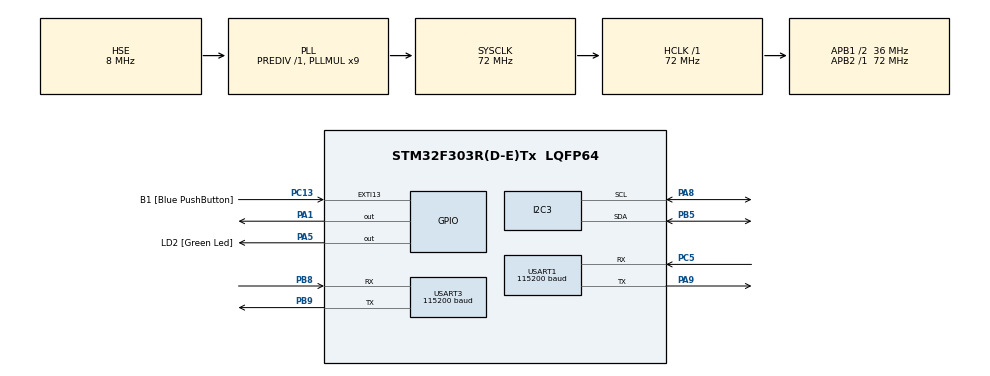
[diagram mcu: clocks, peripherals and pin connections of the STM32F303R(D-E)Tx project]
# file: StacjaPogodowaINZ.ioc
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I2C3.Timing=0x00201D2B
Mcu.Family=STM32F3
Mcu.Name=STM32F303R(D-E)Tx
Mcu.Package=LQFP64
NVIC.PriorityGroup=NVIC_PRIORITYGROUP_0
PA1.Signal=GPIO_Output
PA13.GPIO_Label=TMS
PA13.Mode=Serial_Wire
PA13.Signal=SYS_JTMS-SWDIO
PA14.GPIO_Label=TCK
PA14.Mode=Serial_Wire
PA14.Signal=SYS_JTCK-SWCLK
PA5.GPIO_Label=LD2 [Green Led]
PA5.GPIO_Mode=GPIO_MODE_OUTPUT_PP
PA5.GPIO_PuPd=GPIO_NOPULL
PA5.GPIO_Speed=GPIO_SPEED_FREQ_LOW
PA5.Signal=GPIO_Output
PA8.Mode=I2C
PA8.Signal=I2C3_SCL
PA9.Mode=Asynchronous
PA9.Signal=USART1_TX
PB3.GPIO_Label=SWO
PB3.Signal=SYS_JTDO-TRACESWO
PB5.Mode=I2C
PB5.Signal=I2C3_SDA
PB8.Mode=Asynchronous
PB8.Signal=USART3_RX
PB9.Mode=Asynchronous
PB9.Signal=USART3_TX
PC13.GPIO_Label=B1 [Blue PushButton]
PC13.GPIO_ModeDefaultEXTI=GPIO_MODE_IT_FALLING
PC13.Signal=GPXTI13
PC14-OSC32_IN.Mode=LSE-External-Oscillator
PC14-OSC32_IN.Signal=RCC_OSC32_IN
PC15-OSC32_OUT.Mode=LSE-External-Oscillator
PC15-OSC32_OUT.Signal=RCC_OSC32_OUT
PC5.Mode=Asynchronous
PC5.Signal=USART1_RX
PF0-OSC_IN.Mode=HSE-External-Clock-Source
PF0-OSC_IN.Signal=RCC_OSC_IN
PF1-OSC_OUT.Signal=RCC_OSC_OUT
ProjectManager.HeapSize=0x200
ProjectManager.StackSize=0x400
ProjectManager.TargetToolchain=STM32CubeIDE
RCC.AHBFreq_Value=72000000
RCC.APB1CLKDivider=RCC_HCLK_DIV2
RCC.APB1Freq_Value=36000000
RCC.APB1TimFreq_Value=72000000
RCC.APB2Freq_Value=72000000
RCC.APB2TimFreq_Value=72000000
RCC.CortexFreq_Value=72000000
RCC.HCLKFreq_Value=72000000
RCC.HSE_VALUE=8000000
RCC.HSI_VALUE=8000000
RCC.PLLM=8
RCC.PLLMUL=RCC_PLL_MUL9
RCC.PLLN=336
RCC.PLLP=RCC_PLLP_DIV4
RCC.PLLQ=7
RCC.PLLSourceVirtual=RCC_PLLSOURCE_HSE
RCC.RCC_PLLsource_Clock_Source_FROM_HSE=RCC_HSE_PREDIV_DIV2
RCC.SYSCLKFreq_VALUE=72000000
RCC.SYSCLKSourceVirtual=RCC_SYSCLKSOURCE_PLLCLK
RCC.USBFreq_Value=72000000
TIM6.Prescaler=72-1
USART1.BaudRate=115200
USART1.VirtualMode-Asynchronous=VM_ASYNC
USART3.BaudRate=115200
USART3.VirtualMode-Asynchronous=VM_ASYNC
VP_TIM6_VS_ClockSourceINT.Mode=Enable_Timer
board=NUCLEO-F303RE

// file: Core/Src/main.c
/* USER CODE BEGIN Header */
/**
  ******************************************************************************
  * @file           : main.c
  * @brief          : Main program body
  ******************************************************************************
  * @attention
  *
  * Copyright (c) 2025 STMicroelectronics.
  * All rights reserved.
  *
  * This software is licensed under terms that can be found in the LICENSE file
  * in the root directory of this software component.
  * If no LICENSE file comes with this software, it is provided AS-IS.
  *
  ******************************************************************************
  */
/* USER CODE END Header */
#include "main.h"

/* USER CODE BEGIN Includes */
#include "stdio.h"
#include "DHT11lib.h"
#include "ssd1306.h"
#include "ssd1306_fonts.h"
#include "ESP8266_STM32.h"
/* USER CODE END Includes */

I2C_HandleTypeDef hi2c3;

TIM_HandleTypeDef htim6;

UART_HandleTypeDef huart1;
UART_HandleTypeDef huart3;

/* USER CODE BEGIN PV */
uint8_t Rh_byte1=0,Rh_byte2=0,Temp_byte1=0,Temp_byte2=0,SUM=0;
uint16_t RH,TEMP;
uint8_t DATA[5]={0};
float temperatura=0,wilgotnosc=0;
char Autor[]="Aleks Kusztelak";
char ip_buf[16];
int first_on = 1;
char tempStr[16];
/* USER CODE END PV */

void SystemClock_Config(void);
static void MX_GPIO_Init(void);
static void MX_TIM6_Init(void);
static void MX_I2C3_Init(void);
static void MX_USART3_UART_Init(void);
static void MX_USART1_UART_Init(void);
/* USER CODE BEGIN PFP */
void delay_us(uint16_t us)
{

    __HAL_TIM_SET_COUNTER(&htim6,0);
    while ((uint16_t)(__HAL_TIM_GET_COUNTER(&htim6) < us));

}

void DHT11_Init(void)
{
	DHT11_SetPinOutput (DHT11_PORT, DHT11_PIN);  //output
	HAL_GPIO_WritePin (DHT11_PORT, DHT11_PIN, GPIO_PIN_RESET);   //pin na low
	delay_us (20000);   // czekam 20ms
	HAL_GPIO_WritePin (DHT11_PORT, DHT11_PIN, GPIO_PIN_SET);
	delay_us(30);
	DHT11_SetPinInput(DHT11_PORT, DHT11_PIN);    //pin na input
}

void DHT11_Resp(void){
	uint8_t test = 0;
	delay_us(40);
	if (!(HAL_GPIO_ReadPin(DHT11_PORT,DHT11_PIN)))
	{
		delay_us(80);
		if ((HAL_GPIO_ReadPin(DHT11_PORT,DHT11_PIN))) {
			test =1;
		}
		else {
			test = -1;
		}

	}
}

/*uint8_t DHT11_ReadData(void){
	uint8_t i=0;
	for (uint8_t j=0;j<8;j++)
	{
		while (!(HAL_GPIO_ReadPin (DHT11_PORT, DHT11_PIN)));   // wait for the pin to go high
		delay_us(40);   // wait for 40 us
		if (!(HAL_GPIO_ReadPin (DHT11_PORT, DHT11_PIN)))   // if the pin is low
		{
			i&= ~(1<<(7-j));   // write 0
		}
		else i|= (1<<(7-j));  // if the pin is high, write 1
		while ((HAL_GPIO_ReadPin (DHT11_PORT, DHT11_PIN)));  // wait for the pin to go low
	}
	return i;
}
*/
void DHT11_ReadData(uint8_t *dane){ //Zczytujemy dane do tablicy ktora przekazujemy do tej funkcji
	for(uint8_t i=0;i<5;i++){
		for (uint8_t j=0;j<8;j++)
		{
			while (!(HAL_GPIO_ReadPin (DHT11_PORT, DHT11_PIN)));   // czekamy az pin high
			delay_us(40);   // czekamy 40 us
			if (!(HAL_GPIO_ReadPin (DHT11_PORT, DHT11_PIN)))   // jesli pin low
			{
				dane[i]&= ~(1<<(7-j));   // 0
			}
			else dane[i]|= (1<<(7-j));  // jesli pin high, 1
			while ((HAL_GPIO_ReadPin (DHT11_PORT, DHT11_PIN)));  // czekamy az pin low
		}
	}
}

void Oled_Temp(float temperatura){
	char string[20] ={0};
	sprintf(string,"Temp: %.2f",temperatura);
	ssd1306_SetCursor(5,5);
	ssd1306_WriteString(string,Font_7x10,White);
	ssd1306_UpdateScreen();
}

void Oled_Wilg(float wilgotnosc){
	char string[20] ={0};
	sprintf(string,"RH: %.2f",wilgotnosc);
	ssd1306_SetCursor(5,20);
	ssd1306_WriteString(string,Font_7x10,White);
	ssd1306_UpdateScreen();
}

int _write(int file, char *ptr, int len) {
	HAL_UART_Transmit(&huart1, (uint8_t *)ptr, len, 100);
	return len;
}
/* USER CODE END PFP */

int main(void)
{

  /* MCU Configuration--------------------------------------------------------*/

  /* Reset of all peripherals, Initializes the Flash interface and the Systick. */
  HAL_Init();

  /* Configure the system clock */
  SystemClock_Config();

  /* Initialize all configured peripherals */
  MX_GPIO_Init();
  MX_TIM6_Init();
  MX_I2C3_Init();
  MX_USART3_UART_Init();
  MX_USART1_UART_Init();
  /* USER CODE BEGIN 2 */
  if (ESP_Init() != ESP8266_OK){
	  USER_LOG("Failed to initialize... Check Debug logs");
	  Error_Handler();
  }

  if (ESP_ConnectWiFi("XYZ", "XYZ", ip_buf, sizeof(ip_buf)) != ESP8266_OK){
	  USER_LOG("Failed to connect to wifi... Check Debug logs");
	  Error_Handler();
  }

  if (ESP_MQTT_Connect("broker.hivemq.com", 1883, "STM32Client", NULL, NULL, 60) != ESP8266_OK){
	  Error_Handler();
  }
  HAL_Delay(30000);
  HAL_TIM_Base_Start(&htim6);
  /* USER CODE END 2 */

  /* Infinite loop */
  /* USER CODE BEGIN WHILE */
  while (1)
  {
	  ssd1306_Init();
	  ssd1306_SetCursor(5,35);
	  ssd1306_WriteString(Autor,Font_7x10,White);
	  ssd1306_UpdateScreen();
	  DHT11_Init();
	  DHT11_Resp();
	 /* Rh_byte1=DHT11_ReadData();
	  Rh_byte2=DHT11_ReadData();
	  Temp_byte1=DHT11_ReadData();
	  Temp_byte2=DHT11_ReadData();
	  SUM=DHT11_ReadData();
*/

	  DHT11_ReadData(DATA);
	  uint8_t suma = 0;

	  suma = DATA[0] + DATA[1] +DATA[2] +DATA[3];
	 // temperatura = (float) Temp_byte1;
	 // wilgotnosc = (float) Rh_byte1;
	  wilgotnosc = (float) DATA[0];
	  temperatura = (float) DATA[2];
	  HAL_Delay(3000); //Delay zeby czujnik nie zwariowal
	 /* if(suma==DATA[4]){ //poprawne CHECKSUM
		  if(first_on) {
			  if (ESP_Init() != ESP8266_OK){
				  USER_LOG("Failed to initialize... Check Debug logs");
				  Error_Handler();
			  }

			  if (ESP_ConnectWiFi("XYZ", "XYZ", ip_buf, sizeof(ip_buf)) != ESP8266_OK){
				  USER_LOG("Failed to connect to wifi... Check Debug logs");
				  Error_Handler();
			  }

			  if (ESP_MQTT_Connect("Broker", 1883, "STM32Client", NULL, NULL, 60) != ESP8266_OK){
				  Error_Handler();
			  }
			  first_on=0;
			  HAL_Delay(30000);
		  } */

	  ssd1306_Init();
	  Oled_Temp(temperatura); //odczyt temperatury
	  Oled_Wilg(wilgotnosc); //odczyt wilgotnosci
	  ssd1306_SetCursor(5,35);
	  ssd1306_WriteString(Autor,Font_7x10,White);
	  ssd1306_UpdateScreen();
	  HAL_Delay(3000); //delay zeby czujnik nie zwariowal
	 // static char bufmg[32];
	 // snprintf(bufmg, sizeof(bufmg), "T=%d°C  H=%d%%", DATA[2], DATA[0]);
	  snprintf(tempStr, sizeof(tempStr), "T:%d H:%d", DATA[2],DATA[0]);
	 // const char *tekst = bufmg;
	  if (ESP_CheckTCPConnection() == ESP8266_OK){
		  ESP_MQTT_Publish("Pomiar/wynik", tempStr, 0);
	  }
	 // }

	  HAL_Delay(3000);

    /* USER CODE END WHILE */

  }
}

void SystemClock_Config(void)
{
  RCC_OscInitTypeDef RCC_OscInitStruct = {0};
  RCC_ClkInitTypeDef RCC_ClkInitStruct = {0};
  RCC_PeriphCLKInitTypeDef PeriphClkInit = {0};

  /** Initializes the RCC Oscillators according to the specified parameters
  * in the RCC_OscInitTypeDef structure.
  */
  RCC_OscInitStruct.OscillatorType = RCC_OSCILLATORTYPE_HSI|RCC_OSCILLATORTYPE_HSE;
  RCC_OscInitStruct.HSEState = RCC_HSE_BYPASS;
  RCC_OscInitStruct.HSIState = RCC_HSI_ON;
  RCC_OscInitStruct.HSICalibrationValue = RCC_HSICALIBRATION_DEFAULT;
  RCC_OscInitStruct.PLL.PLLState = RCC_PLL_ON;
  RCC_OscInitStruct.PLL.PLLSource = RCC_PLLSOURCE_HSE;
  RCC_OscInitStruct.PLL.PLLMUL = RCC_PLL_MUL9;
  RCC_OscInitStruct.PLL.PREDIV = RCC_PREDIV_DIV1;
  if (HAL_RCC_OscConfig(&RCC_OscInitStruct) != HAL_OK)
  {
    Error_Handler();
  }

  /** Initializes the CPU, AHB and APB buses clocks
  */
  RCC_ClkInitStruct.ClockType = RCC_CLOCKTYPE_HCLK|RCC_CLOCKTYPE_SYSCLK
                              |RCC_CLOCKTYPE_PCLK1|RCC_CLOCKTYPE_PCLK2;
  RCC_ClkInitStruct.SYSCLKSource = RCC_SYSCLKSOURCE_PLLCLK;
  RCC_ClkInitStruct.AHBCLKDivider = RCC_SYSCLK_DIV1;
  RCC_ClkInitStruct.APB1CLKDivider = RCC_HCLK_DIV2;
  RCC_ClkInitStruct.APB2CLKDivider = RCC_HCLK_DIV1;

  if (HAL_RCC_ClockConfig(&RCC_ClkInitStruct, FLASH_LATENCY_2) != HAL_OK)
  {
    Error_Handler();
  }
  PeriphClkInit.PeriphClockSelection = RCC_PERIPHCLK_USART1|RCC_PERIPHCLK_USART3
                              |RCC_PERIPHCLK_I2C3;
  PeriphClkInit.Usart1ClockSelection = RCC_USART1CLKSOURCE_PCLK2;
  PeriphClkInit.Usart3ClockSelection = RCC_USART3CLKSOURCE_PCLK1;
  PeriphClkInit.I2c3ClockSelection = RCC_I2C3CLKSOURCE_HSI;
  if (HAL_RCCEx_PeriphCLKConfig(&PeriphClkInit) != HAL_OK)
  {
    Error_Handler();
  }
}

static void MX_I2C3_Init(void)
{

  hi2c3.Instance = I2C3;
  hi2c3.Init.Timing = 0x00201D2B;
  hi2c3.Init.OwnAddress1 = 0;
  hi2c3.Init.AddressingMode = I2C_ADDRESSINGMODE_7BIT;
  hi2c3.Init.DualAddressMode = I2C_DUALADDRESS_DISABLE;
  hi2c3.Init.OwnAddress2 = 0;
  hi2c3.Init.OwnAddress2Masks = I2C_OA2_NOMASK;
  hi2c3.Init.GeneralCallMode = I2C_GENERALCALL_DISABLE;
  hi2c3.Init.NoStretchMode = I2C_NOSTRETCH_DISABLE;
  if (HAL_I2C_Init(&hi2c3) != HAL_OK)
  {
    Error_Handler();
  }

  /** Configure Analogue filter
  */
  if (HAL_I2CEx_ConfigAnalogFilter(&hi2c3, I2C_ANALOGFILTER_ENABLE) != HAL_OK)
  {
    Error_Handler();
  }

  /** Configure Digital filter
  */
  if (HAL_I2CEx_ConfigDigitalFilter(&hi2c3, 0) != HAL_OK)
  {
    Error_Handler();
  }

}

static void MX_TIM6_Init(void)
{

  TIM_MasterConfigTypeDef sMasterConfig = {0};

  htim6.Instance = TIM6;
  htim6.Init.Prescaler = 72-1;
  htim6.Init.CounterMode = TIM_COUNTERMODE_UP;
  htim6.Init.Period = 65535;
  htim6.Init.AutoReloadPreload = TIM_AUTORELOAD_PRELOAD_DISABLE;
  if (HAL_TIM_Base_Init(&htim6) != HAL_OK)
  {
    Error_Handler();
  }
  sMasterConfig.MasterOutputTrigger = TIM_TRGO_RESET;
  sMasterConfig.MasterSlaveMode = TIM_MASTERSLAVEMODE_DISABLE;
  if (HAL_TIMEx_MasterConfigSynchronization(&htim6, &sMasterConfig) != HAL_OK)
  {
    Error_Handler();
  }

}

static void MX_USART1_UART_Init(void)
{

  huart1.Instance = USART1;
  huart1.Init.BaudRate = 115200;
  huart1.Init.WordLength = UART_WORDLENGTH_8B;
  huart1.Init.StopBits = UART_STOPBITS_1;
  huart1.Init.Parity = UART_PARITY_NONE;
  huart1.Init.Mode = UART_MODE_TX_RX;
  huart1.Init.HwFlowCtl = UART_HWCONTROL_NONE;
  huart1.Init.OverSampling = UART_OVERSAMPLING_16;
  huart1.Init.OneBitSampling = UART_ONE_BIT_SAMPLE_DISABLE;
  huart1.AdvancedInit.AdvFeatureInit = UART_ADVFEATURE_NO_INIT;
  if (HAL_UART_Init(&huart1) != HAL_OK)
  {
    Error_Handler();
  }

}

static void MX_USART3_UART_Init(void)
{

  huart3.Instance = USART3;
  huart3.Init.BaudRate = 115200;
  huart3.Init.WordLength = UART_WORDLENGTH_8B;
  huart3.Init.StopBits = UART_STOPBITS_1;
  huart3.Init.Parity = UART_PARITY_NONE;
  huart3.Init.Mode = UART_MODE_TX_RX;
  huart3.Init.HwFlowCtl = UART_HWCONTROL_NONE;
  huart3.Init.OverSampling = UART_OVERSAMPLING_16;
  huart3.Init.OneBitSampling = UART_ONE_BIT_SAMPLE_DISABLE;
  huart3.AdvancedInit.AdvFeatureInit = UART_ADVFEATURE_NO_INIT;
  if (HAL_UART_Init(&huart3) != HAL_OK)
  {
    Error_Handler();
  }

}

static void MX_GPIO_Init(void)
{
  GPIO_InitTypeDef GPIO_InitStruct = {0};

  /* GPIO Ports Clock Enable */
  __HAL_RCC_GPIOC_CLK_ENABLE();
  __HAL_RCC_GPIOF_CLK_ENABLE();
  __HAL_RCC_GPIOA_CLK_ENABLE();
  __HAL_RCC_GPIOB_CLK_ENABLE();

  /*Configure GPIO pin Output Level */
  HAL_GPIO_WritePin(GPIOA, GPIO_PIN_1|LD2_Pin, GPIO_PIN_RESET);

  /*Configure GPIO pin : B1_Pin */
  GPIO_InitStruct.Pin = B1_Pin;
  GPIO_InitStruct.Mode = GPIO_MODE_IT_FALLING;
  GPIO_InitStruct.Pull = GPIO_NOPULL;
  HAL_GPIO_Init(B1_GPIO_Port, &GPIO_InitStruct);

  /*Configure GPIO pins : PA1 LD2_Pin */
  GPIO_InitStruct.Pin = GPIO_PIN_1|LD2_Pin;
  GPIO_InitStruct.Mode = GPIO_MODE_OUTPUT_PP;
  GPIO_InitStruct.Pull = GPIO_NOPULL;
  GPIO_InitStruct.Speed = GPIO_SPEED_FREQ_LOW;
  HAL_GPIO_Init(GPIOA, &GPIO_InitStruct);

}

void Error_Handler(void)
{
  __disable_irq();
  while (1)
  {
  }
}
